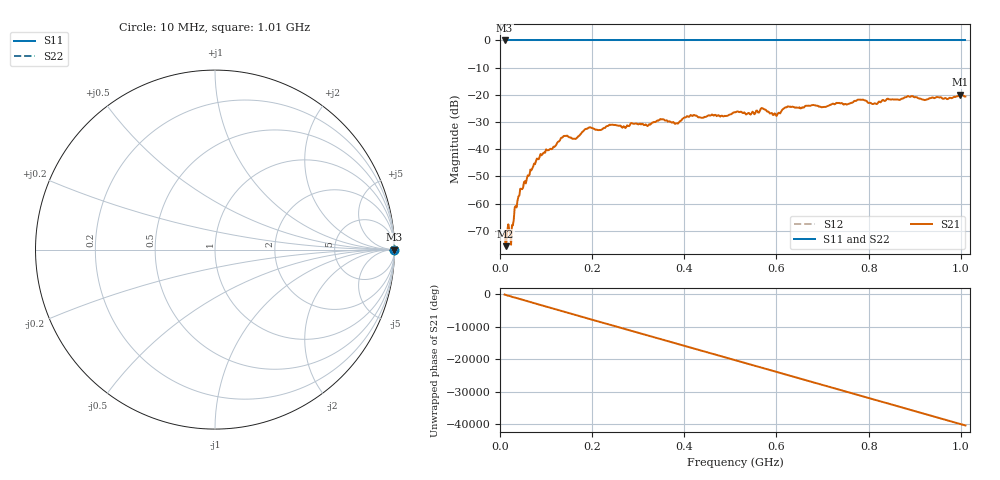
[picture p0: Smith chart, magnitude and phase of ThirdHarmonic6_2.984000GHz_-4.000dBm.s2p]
! 8/17/2025 8:29:02 AM
! C:\ANRITSUVNA\TEMP\TEMP.S2P
! CHANNEL.1
! TR.MEASUREMENT
! RAW.DATA
! RF.CORRECTION.OFF
! AVERAGING.OFF
! IF.BANDWIDTH: 5KHZ
! SWEEPTYPE:  FREQ.SWEEP(Linear)
! Reference Plane Port Info
! PORT:  PORT1  PORT2
! DISTANCE:  0  m  0  m
! TIME:  0  s  0  s
! PHASE.OFFSET:  0  deg.  0  deg.
! LOSS:  0  dB  0  dB
! REF.LOSS:  0  dB  0  dB
! REF.FREQ:  0  Hz  0  Hz
! Power Info
! POWER:  -20  dBm  -20  dBm
! EFF.POWER:  -20  dBm  -20  dBm
! SOURCE.ATTEN:  0  dB  0  dB
! TEST.ATTEN:  0  dB  0  dB
# GHZ S RI R 50.0
! FREQ.GHZ  S11RE  S11IM  S21RE  S21IM  S12RE  S12IM  S22RE  S22IM
!; PortSelection: Port_12
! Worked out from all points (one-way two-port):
!   501 points, 10 MHz to 1.01 GHz, reference 50 ohm
!   highest |S21| = -19.96 dB at 998 MHz (marker M1); lowest = -75.6 dB at 12 MHz (marker M2)
!   lowest |S11| = 0.0 dB at 10 MHz (marker M3)
!   |S11| at or under -10 dB: nowhere
!   |S22| runs from 0.0 to 0.0 dB; largest |S21 - S12| = 1.1
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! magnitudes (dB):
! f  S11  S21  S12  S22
! 10 MHz  0.0  -70.2  0.0  0.0
! 12 MHz  0.0  -75.6  0.0  0.0
! 26 MHz  0.0  -67.8  0.0  0.0
! 36 MHz  0.0  -61.4  0.0  0.0
! 48 MHz  0.0  -54.7  0.0  0.0
! 84 MHz  0.0  -43.6  0.0  0.0
! 136 MHz  0.0  -35.6  0.0  0.0
! 162 MHz  0.0  -36.1  0.0  0.0
! 178 MHz  0.0  -33.7  0.0  0.0
! 194 MHz  0.0  -31.9  0.0  0.0
! 322 MHz  0.0  -31.2  0.0  0.0
! 344 MHz  0.0  -29.5  0.0  0.0
! 384 MHz  0.0  -30.5  0.0  0.0
! 416 MHz  0.0  -27.7  0.0  0.0
! 510 MHz  0.0  -26.4  0.0  0.0
! 570 MHz  0.0  -24.9  0.0  0.0
! 598 MHz  0.0  -27.1  0.0  0.0
! 622 MHz  0.0  -24.6  0.0  0.0
! 678 MHz  0.0  -23.7  0.0  0.0
! 844 MHz  0.0  -21.7  0.0  0.0
! 998 MHz  0.0  -20.0  0.0  0.0
! 1.01 GHz  0.0  -20.6  0.0  0.0
